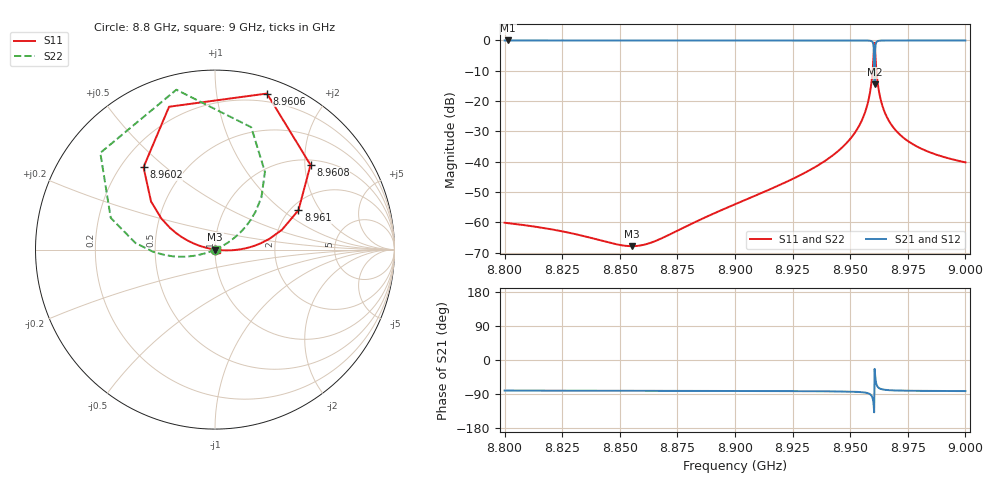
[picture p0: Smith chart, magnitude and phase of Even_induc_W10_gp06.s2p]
! Sonnet Data File
! From: emgraph Version : 16.52
! From Project: Resonator2_cp_varyW
! Data is De-embedded
! Data File Written: 10/07/2017 23:12:07
!< HDATE 10/07/2017 13:09:30
!< MDATE 10/07/2017 13:09:30
!< PARAMS
!< gap = 6.0
!< Length = 400.0
!< Pwid1 = 2000.0
!< Pwid2 = 2000.0
!< Air_gap = 6.0
!< Width = 10.0
!< END PARAMS
# GHZ S MA R 51.80000
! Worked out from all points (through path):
!   1001 points, 8.8 GHz to 9 GHz, reference 51.8 ohm
!   highest |S21| = 0.00 dB at 8.8016 GHz (marker M1); lowest = -14.5 dB at 8.9606 GHz (marker M2)
!   lowest |S11| = -67.9 dB at 8.8552 GHz (marker M3), VSWR 1.00, Z = 51.8 + j0.0415 ohm
!   |S11| at or under -10 dB: start of sweep to 8.9597 GHz; 8.961383 GHz to end of sweep
!   |S22| runs from -68.0 to -0.8 dB; largest |S21 - S12| = 0
!   S11 on the Smith chart (normalised r, x): 8.8 GHz: 1.00, +0.00; 8.9602 GHz: 0.29, +0.42; 8.9606 GHz: 0.13, +1.38; 8.9608 GHz: 1.12, +2.14; 8.961 GHz: 2.20, +1.31; 9 GHz: 1.02, -0.00
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8.8  0.0009838 17.5  1 -80.7  1 -80.7  0.0009829 1.3
!< P1 F=8.8 Eeff=(6.44679989 -2.9721e-5) Z0=(51.7992624 1.19519e-4) R=0.0 C=0.0
!< P2 F=8.8 Eeff=(6.44679989 -2.9721e-5) Z0=(51.7992624 1.19519e-4) R=0.0 C=0.0
8.8016  0.0009682 17.9  1 -80.7  1 -80.7  0.0009674 0.9
8.8334  0.0006048 34.8  1 -81.0  1 -81.0  0.0006023 -16.5
8.8552  0.000404 82.4  1 -81.3  1 -81.3  0.0003986 -64.7
8.8668  0.0005165 121.1  1 -81.4  1 -81.4  0.0005113 -104.2
8.9  0.001984 160.4  1 -81.8  1 -81.8  0.001981 -144.2
8.9334  0.007606 168.5  1 -82.4  1 -82.4  0.007604 -153.5
8.9456  0.01597 169.4  0.9998 -83.0  0.9998 -83.0  0.01597 -155.7
8.9534  0.03629 168.9  0.9992 -84.3  0.9992 -84.3  0.03629 -157.8
8.9576  0.09145 165.9  0.9951 -87.5  0.9951 -87.5  0.09144 -161.6
8.9588  0.1547 162.0  0.9861 -91.1  0.9861 -91.1  0.1547 -165.7
8.9594  0.2327 157.2  0.9683 -95.7  0.9683 -95.7  0.2327 -170.6
8.9602  0.6075 131.0  0.7589 -119.6  0.7589 -119.6  0.6074 163.0
8.9606  0.9164 71.6  0.1891 -23.4  0.1891 -23.4  0.9164 103.6
8.9608  0.711 41.5  0.6479 -37.1  0.6479 -37.1  0.711 73.5
8.961  0.5143 25.3  0.8346 -51.3  0.8346 -51.3  0.5143 57.2
8.9618  0.2187 5.4  0.9722 -69.6  0.9722 -69.6  0.2186 37.2
8.9632  0.107 -1.5  0.9934 -76.1  0.9934 -76.1  0.107 30.1
8.9668  0.04718 -4.9  0.9987 -79.6  0.9987 -79.6  0.04717 26.1
8.9716  0.02788 -5.8  0.9996 -80.8  0.9996 -80.8  0.02788 24.5
8.9786  0.01812 -6.0  0.9998 -81.4  0.9998 -81.4  0.01812 23.4
9  0.009757 -5.7  0.9999 -82.0  0.9999 -82.0  0.009757 21.6
